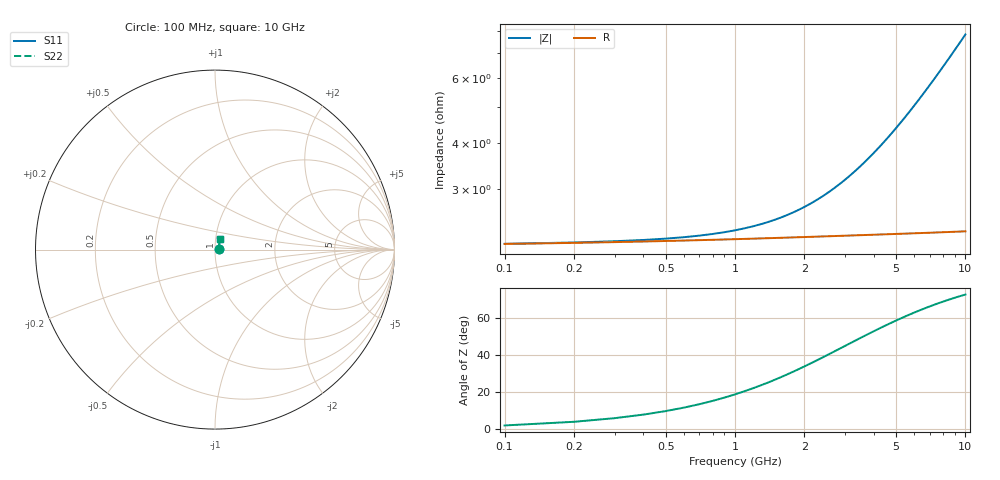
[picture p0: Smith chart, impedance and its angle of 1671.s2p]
# Hz S RI R 50.00
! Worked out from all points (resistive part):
!   100 points, 100 MHz to 10 GHz, reference 50 ohm
!   read as one part in series: R = 2.14 ohm at 100 MHz
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1e8  0.0209 0.000605  0.9791 -0.000834  0.9791 -0.000834  0.0209 0.000605
6e8  0.0214 0.00363  0.9786 -0.005  0.9786 -0.005  0.0214 0.00363
8e8  0.0215 0.00483  0.9785 -0.00667  0.9785 -0.00667  0.0215 0.00483
1e9  0.0216 0.00604  0.9784 -0.00833  0.9784 -0.00833  0.0216 0.00604
1.2e9  0.0217 0.00725  0.9783 -0.01  0.9783 -0.01  0.0217 0.00725
1.4e9  0.0218 0.00845  0.9782 -0.0117  0.9782 -0.0117  0.0218 0.00845
1.8e9  0.0219 0.0109  0.9781 -0.015  0.9781 -0.015  0.0219 0.0109
2.1e9  0.0221 0.0127  0.9779 -0.0175  0.9779 -0.0175  0.0221 0.0127
2.4e9  0.0222 0.0145  0.9778 -0.02  0.9778 -0.02  0.0222 0.0145
3.4e9  0.0226 0.0205  0.9773 -0.0283  0.9773 -0.0283  0.0226 0.0205
4.3e9  0.0231 0.0259  0.9768 -0.0358  0.9768 -0.0358  0.0231 0.0259
5.1e9  0.0236 0.0307  0.9764 -0.0424  0.9764 -0.0424  0.0236 0.0307
5.5e9  0.0238 0.0331  0.9761 -0.0457  0.9761 -0.0457  0.0238 0.0331
5.9e9  0.0241 0.0355  0.9758 -0.049  0.9758 -0.049  0.0241 0.0355
6.3e9  0.0244 0.0379  0.9755 -0.0523  0.9755 -0.0523  0.0244 0.0379
6.7e9  0.0247 0.0403  0.9752 -0.0556  0.9752 -0.0556  0.0247 0.0403
7.1e9  0.025 0.0427  0.9749 -0.059  0.9749 -0.059  0.025 0.0427
7.5e9  0.0253 0.0451  0.9745 -0.0623  0.9745 -0.0623  0.0253 0.0451
7.9e9  0.0257 0.0474  0.9742 -0.0656  0.9742 -0.0656  0.0257 0.0474
8.4e9  0.0261 0.0504  0.9737 -0.0697  0.9737 -0.0697  0.0261 0.0504
9.2e9  0.0269 0.0552  0.9729 -0.0763  0.9729 -0.0763  0.0269 0.0552
1e10  0.0277 0.0599  0.972 -0.0828  0.972 -0.0828  0.0277 0.0599
